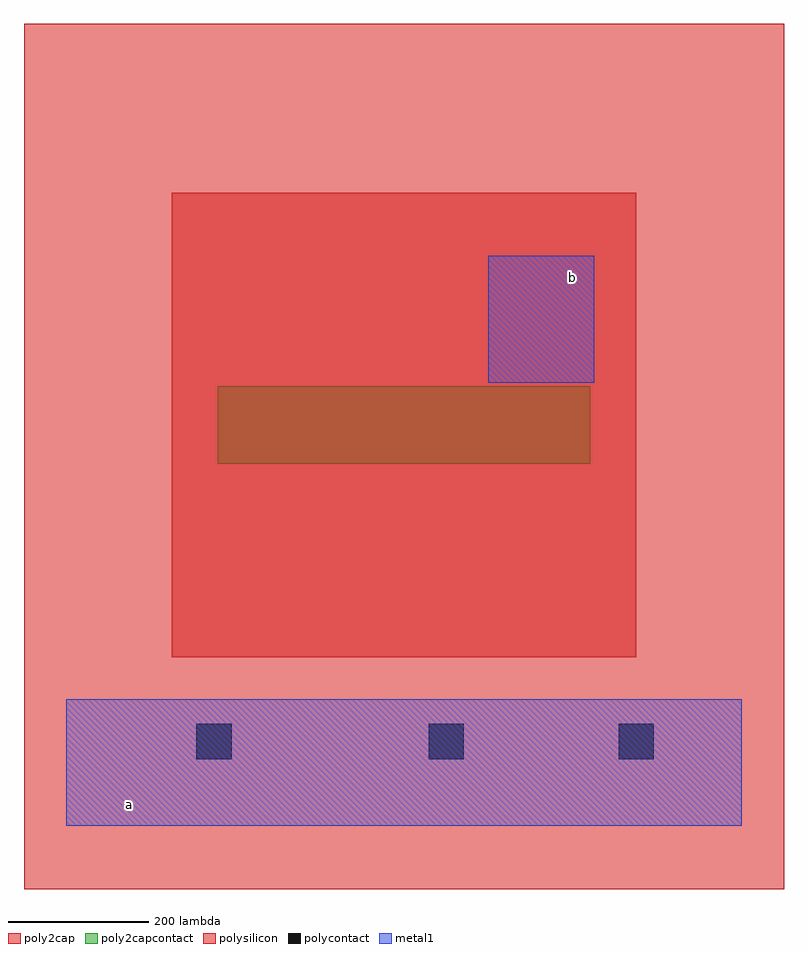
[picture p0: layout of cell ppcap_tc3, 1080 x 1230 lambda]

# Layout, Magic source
magic
tech amic5n
<< poly2capcontact >>
rect 875 515 1405 625
<< poly2cap >>
rect 810 240 1470 900
<< polysilicon >>
rect 600 -90 1680 1140
<< polycontact >>
rect 845 95 895 145
<< polycontact >>
rect 1175 95 1225 145
<< polycontact >>
rect 1445 95 1495 145
<< metal1 >>
rect 1260 630 1410 810
rect 660 0 1620 180
<< labels >>
flabel metal1 s 750 30 750 30 2 FreeSans 400 0 0 0 a
port 1 ne
flabel metal1 s 1380 780 1380 780 2 FreeSans 400 0 0 0 b
port 2 ne
<< end >>
